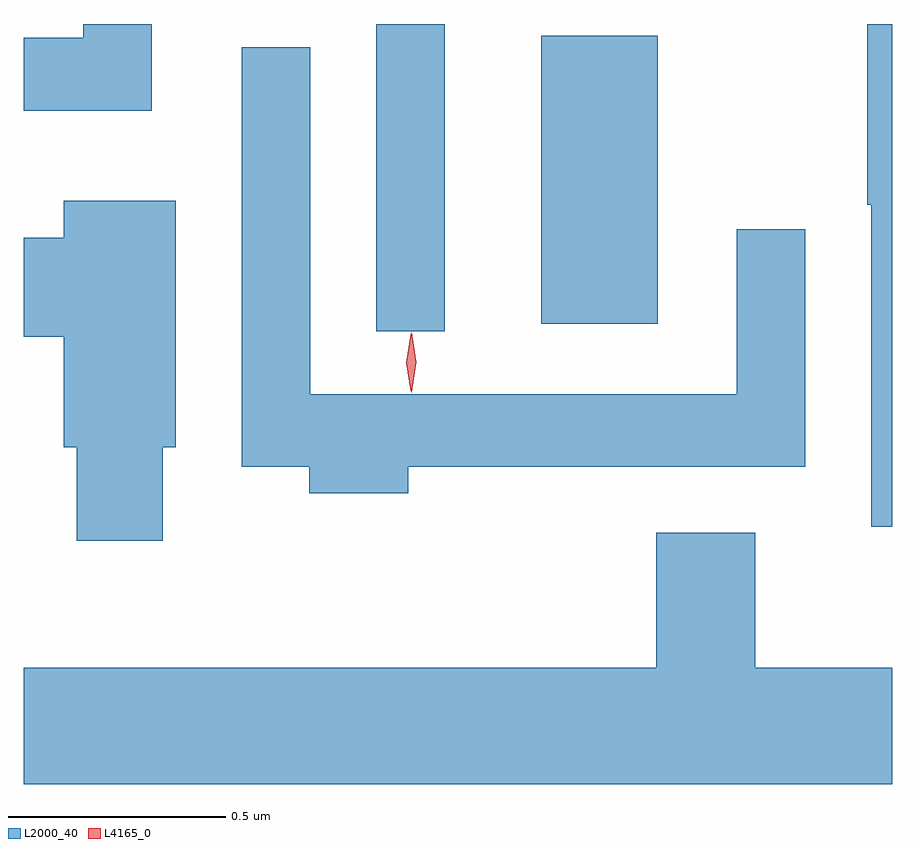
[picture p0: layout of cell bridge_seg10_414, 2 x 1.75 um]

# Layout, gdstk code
import gdstk
lib = gdstk.Library(unit=1e-6, precision=1e-09)
def R(c, l, rs):  # rectangles x0, y0, x1, y1
    for r in rs: c.add(gdstk.rectangle(r[:2], r[2:], *l))
def P(c, l, *ps):  # polygons
    for p in ps: c.add(gdstk.Polygon(p, *l))
L2000_40 = (2000, 40)
L4165_0 = (4165, 0)

bridge_seg10_414 = lib.new_cell('bridge_seg10_414')
R(bridge_seg10_414, L2000_40, [(1422.926,2143.818,1423.084,2144.526), (1423.306,2143.836,1423.574,2144.499)])
P(bridge_seg10_414, L2000_40, [(1422.409,2144.526),(1422.251,2144.526),(1422.251,2144.494),(1422.114,2144.494),(1422.114,2144.326),(1422.409,2144.326)],
  [(1424.114,2144.526),(1424.056,2144.526),(1424.056,2144.11),(1424.066,2144.11),(1424.066,2143.368),(1424.114,2143.368)],
  [(1422.999,2143.506),(1423.914,2143.506),(1423.914,2144.053),(1423.756,2144.053),(1423.756,2143.674),(1422.774,2143.674),(1422.774,2144.473),(1422.616,2144.473),(1422.616,2143.506),(1422.771,2143.506),(1422.771,2143.446),(1422.999,2143.446)],
  [(1422.434,2143.551),(1422.464,2143.551),(1422.464,2144.119),(1422.206,2144.119),(1422.206,2144.034),(1422.114,2144.034),(1422.114,2143.806),(1422.206,2143.806),(1422.206,2143.551),(1422.236,2143.551),(1422.236,2143.336),(1422.434,2143.336)],
  [(1424.114,2143.044),(1423.799,2143.044),(1423.799,2143.354),(1423.571,2143.354),(1423.571,2143.044),(1422.114,2143.044),(1422.114,2142.776),(1424.114,2142.776)])
P(bridge_seg10_414, L4165_0, [(1423.005,2143.68),(1423.005,2143.68),(1422.995,2143.746),(1423.005,2143.812),(1423.005,2143.813),(1423.006,2143.812),(1423.015,2143.746),(1423.006,2143.68)],
  [(1423.008,2143.677),(1423.007,2143.678),(1422.998,2143.747),(1423.007,2143.816),(1423.008,2143.816),(1423.008,2143.816),(1423.018,2143.747),(1423.008,2143.678)])

lib.write_gds('bridge_seg10_414.gds')
